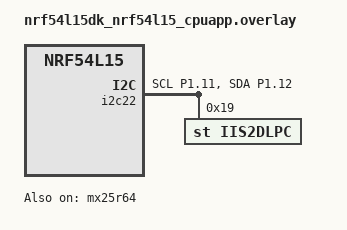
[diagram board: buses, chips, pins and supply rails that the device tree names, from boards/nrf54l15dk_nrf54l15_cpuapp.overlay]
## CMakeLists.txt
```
#
# Copyright (c) 2024 Edge Impulse
#

cmake_minimum_required(VERSION 3.13.1)

# set(PM_STATIC_YML_FILE ${CMAKE_CURRENT_SOURCE_DIR}/boards/pm_static_${BOARD}.yml)
# set(CMAKE_CXX_STANDARD 11)
# set(CMAKE_CXX_STANDARD_REQUIRED ON)

find_package(Zephyr REQUIRED HINTS $ENV{ZEPHYR_BASE})
project("firmware-nordic-nrf54lxx-dk"
          VERSION 0.1)

# Needed for colorful output
zephyr_compile_options(-fdiagnostics-color=always)
zephyr_compile_options(-Wno-narrowing)

# Use hardware acceleration for DSP and Neural Network code
# You'll need to disable these on non-Arm cores
add_definitions(-DEIDSP_USE_CMSIS_DSP=1
                -DEIDSP_LOAD_CMSIS_DSP_SOURCES=1
                -DEI_CLASSIFIER_TFLITE_ENABLE_CMSIS_NN=1
                -DEIDSP_QUANTIZE_FILTERBANK=0
                -DARM_MATH_LOOPUNROLL
                -DMBEDTLS_PLATFORM_ZEROIZE_ALT
                )

# Add all required source files
add_subdirectory(ei-model/edge-impulse-sdk/cmake/zephyr)
add_subdirectory(firmware-sdk)
add_subdirectory(src/inference)
add_subdirectory(src/sensors)
add_subdirectory(src)

# Include directories (everything in the SDK is already included here)
target_include_directories(app PRIVATE .)
target_include_directories(app PRIVATE ei-model)

# Use GLOB to include model files, because model file names differes whether model is EON compiled or not
RECURSIVE_FIND_FILE(MODEL_FILES ei-model/tflite-model "*.cpp")
target_sources(app PRIVATE ${MODEL_FILES})
```

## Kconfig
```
#
# Copyright (c) 2024 Edge Impulse
#

source "Kconfig.zephyr"

menu "Edge Impulse nRF54L15DK example"

config EI_INFERENCE_THREAD_STACK
    int "Inference thread stack size"
    default 256
    help
      "Set the Edge Impulse inference thread stack size."

config EI_INFERENCE_THREAD_PRIO
    int "Inference thread priority"
    default 5
    help
      "Set the Edge Impulse inference thread priority. The lower number, the higher prority."

source "subsys/logging/Kconfig.template.log_config"

endmenu
```

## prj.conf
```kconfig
#
# Copyright (c) 2024 Edge Impulse
#
################################################################################
# Application configuration
CONFIG_GPIO=y

# Enable c++ support
CONFIG_CPP=y
CONFIG_STD_CPP11=y
CONFIG_GLIBCXX_LIBCPP=y
CONFIG_NEWLIB_LIBC=y
CONFIG_NEWLIB_LIBC_FLOAT_PRINTF=y
CONFIG_NEWLIB_LIBC_NANO=n

# Enable reboot from user space
CONFIG_REBOOT=y

# Enable floating point unit
CONFIG_FPU=y

CONFIG_MAIN_STACK_SIZE=4096
CONFIG_SYSTEM_WORKQUEUE_STACK_SIZE=4096
CONFIG_EI_INFERENCE_THREAD_STACK=4096
CONFIG_HEAP_MEM_POOL_SIZE=100000

# Serial console
CONFIG_UART_INTERRUPT_DRIVEN=y
CONFIG_CONSOLE_SUBSYS=n

CONFIG_DK_LIBRARY=n
# Using built-in sensor
CONFIG_SENSOR=y

# I2C configuration for accelerometer
CONFIG_I2C=y
CONFIG_I2C_NRFX=y

CONFIG_ASSERT=y
CONFIG_DEBUG=y
CONFIG_LOG=y
CONFIG_LOG_MODE_DEFERRED=y
CONFIG_USE_SEGGER_RTT=y
CONFIG_LOG_BACKEND_RTT=y
CONFIG_LOG_BACKEND_UART=n

# Configure Segger RTT
CONFIG_SEGGER_RTT_BUFFER_SIZE_UP=4096

# Configure bluetooth
CONFIG_BT=y

CONFIG_SETTINGS=y
CONFIG_CJSON_LIB=y


# CONFIG_PM_DEVICE=y
CONFIG_FLASH_PAGE_LAYOUT=y
CONFIG_MPU_ALLOW_FLASH_WRITE=y

CONFIG_FLASH_MAP=y

CONFIG_BOOTLOADER_MCUBOOT=y

CONFIG_ZCBOR=y
CONFIG_ZCBOR_STOP_ON_ERROR=y

# Enable mcumgr DFU in application
CONFIG_MCUMGR=y

# Enable MCUMGR management for both OS and Images
CONFIG_MCUMGR_GRP_OS=y
CONFIG_MCUMGR_GRP_IMG=y
CONFIG_NET_BUF=y
CONFIG_CRC=y
CONFIG_IMG_MANAGER=y
CONFIG_STREAM_FLASH=y
```

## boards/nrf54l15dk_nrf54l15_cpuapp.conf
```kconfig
# DK-specific: External Flash memory
CONFIG_SPI=y
CONFIG_FLASH=y
CONFIG_NORDIC_QSPI_NOR=n

CONFIG_EI_USE_EXTERNAL_FLASH=y
```

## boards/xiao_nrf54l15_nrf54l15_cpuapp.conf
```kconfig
# XIAO-specific: Disable external Flash, use internal
# DK-specific: External Flash memory
CONFIG_SPI=y
CONFIG_FLASH=y

CONFIG_EI_USE_EXTERNAL_FLASH=n
```

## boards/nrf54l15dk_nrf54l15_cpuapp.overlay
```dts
/*
 * Copyright (c) 2024 EdgeImpulse Inc.
 *
 * Licensed under the Apache License, Version 2.0 (the "License");
 * you may not use this file except in compliance with the License.
 * You may obtain a copy of the License at
 * http://www.apache.org/licenses/LICENSE-2.0
 *
 * Unless required by applicable law or agreed to in writing,
 * software distributed under the License is distributed on an "AS
 * IS" BASIS, WITHOUT WARRANTIES OR CONDITIONS OF ANY KIND, either
 * express or implied. See the License for the specific language
 * governing permissions and limitations under the License.
 *
 * SPDX-License-Identifier: Apache-2.0
 */

// &i2c1 {
//     clock-frequency = <I2C_BITRATE_FAST>;
// };

&i2c22 {
    status = "okay";
    pinctrl-0 = <&i2c22_default>;
    pinctrl-1 = <&i2c22_sleep>;
    pinctrl-names = "default", "sleep";
    iis2dlpc: iis2dlpc@19{
        compatible = "st,iis2dlpc";
        status = "okay";
        reg = < 0x19 >;
    };
};

&pinctrl {
	/omit-if-no-ref/ i2c22_default: i2c22_default {
		group1  {
			psels = <NRF_PSEL(TWIM_SCL, 1, 11)>,
					<NRF_PSEL(TWIM_SDA, 1, 12)>;
		};
	};

	/omit-if-no-ref/ i2c22_sleep: i2c22_sleep {
		group1  {
			psels = <NRF_PSEL(TWIM_SCL, 1, 11)>,
					<NRF_PSEL(TWIM_SDA, 1, 12)>;
			low-power-enable;
		};
	};
};

&mx25r64 {
    status = "okay";
};

/ {
    chosen {
        nordic,pm-ext-flash = &mx25r64;
    };
};

// &clock {
//     hfclkaudio-frequency = <12288000>;
// };
```

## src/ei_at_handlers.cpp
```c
/*
 * Copyright (c) 2024 EdgeImpulse Inc.
 *
 * Licensed under the Apache License, Version 2.0 (the "License");
 * you may not use this file except in compliance with the License.
 * You may obtain a copy of the License at
 * http://www.apache.org/licenses/LICENSE-2.0
 *
 * Unless required by applicable law or agreed to in writing,
 * software distributed under the License is distributed on an "AS
 * IS" BASIS, WITHOUT WARRANTIES OR CONDITIONS OF ANY KIND, either
 * express or implied. See the License for the specific language
 * governing permissions and limitations under the License.
 *
 * SPDX-License-Identifier: Apache-2.0
 */

#include "ei_at_handlers.h"
#include "ei_device_nordic.h"
#include "ei_base64_encode.h"
#include "inference/ei_run_impulse.h"
#include "edge-impulse-sdk/porting/ei_classifier_porting.h"
#include "firmware-sdk/at-server/ei_at_command_set.h"
#include "firmware-sdk/at-server/ei_at_server.h"
#include "firmware-sdk/ei_device_info_lib.h"
#include "firmware-sdk/ei_fusion.h"
#include "firmware-sdk/at_base64_lib.h"
#include "firmware-sdk/ei_device_lib.h"
#include "firmware-sdk/ei_device_interface.h"
#include <zephyr/logging/log.h>
#include <zephyr/kernel.h>
#include <string>

LOG_MODULE_REGISTER(at_handlers, LOG_LEVEL_DBG);

using namespace std;

static EiDeviceNRF *dev;

#define TRANSFER_BUF_LEN 32

inline bool check_args_num(const int &required, const int &received)
{
    if(received < required) {
        ei_printf("Too few arguments! Required: %d\n", required);
        return false;
    }

    return true;
}

bool at_get_device_id(void)
{
    ei_printf("%s\n", dev->get_device_id().c_str());

    return true;
}

bool at_set_device_id(const char **argv, const int argc)
{
    if(argc < 1) {
        ei_printf("Missing argument!\n");
        return true;
    }

    dev->set_device_id(argv[0]);

    ei_printf("OK\n");

    return true;
}

bool at_get_upload_host(void)
{
    ei_printf("%s\n", dev->get_upload_host().c_str());

    return true;
}

bool at_set_upload_host(const char **argv, const int argc)
{
    if(argc < 1) {
        ei_printf("Missing argument!\n");
        return true;
    }

    dev->set_upload_host(argv[0]);

    ei_printf("OK\n");

    return true;
}

bool at_get_upload_settings(void)
{
    ei_printf("Api Key:   %s\n", dev->get_upload_api_key().c_str());
    ei_printf("Host:      %s\n", dev->get_upload_host().c_str());
    ei_printf("Path:      %s\n", dev->get_upload_path().c_str());

    return true;
}

bool at_set_upload_settings(const char **argv, const int argc)
{
    if(argc < 2) {
        ei_printf("Missing argument! Required: " AT_UPLOADSETTINGS_ARGS "\n");
        return true;
    }

    //TODO: can we set these values to ""?
    dev->set_upload_api_key(argv[0]);
    dev->set_upload_path(argv[1]);

    ei_printf("OK\n");

    return true;
}

bool at_get_mgmt_url(void)
{
    ei_printf("%s\n", dev->get_management_url().c_str());

    return true;
}

bool at_set_mgmt_url(const char **argv, const int argc)
{
    if(argc < 1) {
        ei_printf("Missing argument!\n");
        return true;
    }

    dev->set_management_url(argv[0]);

    ei_printf("OK\n");

    return true;
}

bool at_get_sample_settings(void)
{
    ei_printf("Label:     %s\n", dev->get_sample_label().c_str());
    ei_printf("Interval:  %.2lf ms.\n", (double)dev->get_sample_interval_ms());
    ei_printf("Length:    %u ms.\n", dev->get_sample_length_ms());
    ei_printf("HMAC key:  %s\n", dev->get_sample_hmac_key().c_str());

    return true;
}

bool at_set_sample_settings(const char **argv, const int argc)
{
    if(argc < 3) {
        ei_printf("Missing argument! Required: " AT_SAMPLESETTINGS_ARGS "\n");
        return true;
    }

    dev->set_sample_label(argv[0]);

    //TODO: sanity check and/or exception handling
    string interval_ms_str(argv[1]);
    dev->set_sample_interval_ms(stof(interval_ms_str));

    //TODO: sanity check and/or exception handling
    string sample_length_str(argv[2]);
    dev->set_sample_length_ms(stoi(sample_length_str));

    if(argc >= 4) {
        dev->set_sample_hmac_key(argv[3]);
    }

    ei_printf("OK\n");

    return true;
}

bool at_clear_config(void)
{
    dev->clear_config();
    dev->init_device_id();
#ifdef CONFIG_WIFI_NRF700X
    if(cmd_wifi_connected()) {
        ei_ws_client_stop();
        cmd_wifi_disconnect();
    }
#endif
    return true;
}

bool at_unlink_file(const char **argv, const int argc)
{
    ei_printf("\n");

    return true;
}

bool at_read_buffer(const char **argv, const int argc)
{
    if(argc < 2) {
        ei_printf("Missing argument! Required: " AT_READBUFFER_ARGS "\n");
        return true;
    }

    size_t start = (size_t)atoi(argv[0]);
    size_t length = (size_t)atoi(argv[1]);

    dev->set_state(eiStateUploading);

    bool use_max_baudrate = false;
    if (argc >= 3 && argv[2][0] == 'y') {
       use_max_baudrate = true;
    }

    if (use_max_baudrate) {
        ei_printf("OK\r\n");
        ei_sleep(100);
        dev->set_max_data_output_baudrate();
        ei_sleep(100);
    }

    bool success = read_encode_send(start, length);

    if (use_max_baudrate) {
        ei_printf("\r\nOK\r\n");
        ei_sleep(100);
        dev->set_default_data_output_baudrate();
        ei_sleep(100);
    }

    if (!success) {
        ei_printf("ERR: Failed to read from buffer\n");
        dev->set_state(eiStateIdle);
    }
    else {
        ei_printf("\n");
        dev->set_state(eiStateFinished);
    }

    return true;
}

bool at_sample_start(const char **argv, const int argc)
{
    EiDeviceNRF *dev = static_cast<EiDeviceNRF*>(EiDeviceInfo::get_device());
    dev->set_serial_channel(UART);
    if(argc < 1) {
        ei_printf("Missing sensor name!\n");
        return true;
    }

    const ei_device_sensor_t *sensor_list;
    size_t sensor_list_size;

    dev->get_sensor_list((const ei_device_sensor_t **)&sensor_list, &sensor_list_size);

    for (size_t ix = 0; ix < sensor_list_size; ix++) {
        if (strcmp(sensor_list[ix].name, argv[0]) == 0) {
            if (!sensor_list[ix].start_sampling_cb()) {
                ei_printf("ERR: Failed to start sampling\n");
                dev->set_state(eiStateIdle);
            }
            else {
                dev->set_state(eiStateFinished);
            }
            return true;
        }
    }

    if (ei_connect_fusion_list(argv[0], SENSOR_FORMAT)) {
        if (!ei_fusion_setup_data_sampling()) {
            ei_printf("ERR: Failed to start sensor fusion sampling\n");
            dev->set_state(eiStateIdle);
        }
        else {
            dev->set_state(eiStateFinished);
        }
    }
    else {
        ei_printf("ERR: Failed to find sensor '%s' in the sensor list\n", argv[0]);
    }

    return true;
}

bool at_run_impulse(void)
{
    EiDeviceNRF *dev = static_cast<EiDeviceNRF*>(EiDeviceInfo::get_device());
    dev->set_serial_channel(UART);
    ei_start_impulse(false, false);

    return false;
}

bool at_run_impulse_cont(void)
{
    EiDeviceNRF *dev = static_cast<EiDeviceNRF*>(EiDeviceInfo::get_device());
    dev->set_serial_channel(UART);
    ei_start_impulse(true, false);

    return false;
}

bool at_run_impulse_static_data(const char **argv, const int argc)
{
    EiDeviceNRF *dev = static_cast<EiDeviceNRF*>(EiDeviceInfo::get_device());
    dev->set_serial_channel(UART);
    if (check_args_num(2, argc) == false) {
        return false;
    }

    bool debug = (argv[0][0] == 'y');
    size_t length = (size_t)atoi(argv[1]);

    bool res = run_impulse_static_data(debug, length, TRANSFER_BUF_LEN);

    return res;
}

bool at_stop_impulse(void)
{
    EiDeviceNRF *dev = static_cast<EiDeviceNRF*>(EiDeviceInfo::get_device());
    dev->set_serial_channel(UART);
    ei_stop_impulse();

    return true;
}

#ifdef CONFIG_WIFI_NRF700X
bool at_scan_wifi(void)
{
    cmd_wifi_scan();
    cmd_wifi_scan_done();

    return true;
}

bool at_set_wifi(const char **argv, const int argc)
{
    LOG_DBG("set WiFi\n");

    char *endptr;
    int idx = 1;
    static const char* password = NULL;
    unsigned int security = 0;

    if (argc < 1) {
        return -EINVAL;
    }

    /* PSK (optional) */
    if (idx < argc) {
        password = argv[idx];
        idx++;

        if (idx < argc) {
            security = strtol(argv[idx], &endptr, 10);
        }
    } else {
        password = NULL;
        security = 0;
    }

    cmd_wifi_connect(argv[0], password, security);
    //waithing to connect to wifi
    if(cmd_wifi_connecting() < 0) {
        ei_printf("ERR: Failed to connect to WiFi\n");
        return false;
    }
    //waitinhg to connect to dhcp
    if(cmd_dhcp_configured() < 0) {
        ei_printf("ERR: Failed to configure DHCP\n");
        return false;
    }
    ei_ws_client_start(dev, nullptr);
    ei_sleep(100);
    ei_printf("OK\n");

    return true;
}

bool at_get_wifi(void)
{
    char ssid[128] = { 0 };
    char password[128] = { 0 };
    int security = 0;

    dev->get_wifi_config(ssid, password, &security);

    ei_printf("Present:   1\n");
    ei_printf("SSID:      %s\n", ssid);
    ei_printf("Password:  %s\n", password);
    ei_printf("Security:  %d\n", security);
    ei_printf("MAC:       %s\n", dev->get_mac_address().c_str());
    ei_printf("Connected: %d\n", cmd_wifi_connected());

    return true;
}
#endif

bool at_get_config(void)
{
    const ei_device_sensor_t *sensor_list;
    size_t sensor_list_size;

    dev->get_sensor_list((const ei_device_sensor_t **)&sensor_list, &sensor_list_size);

    ei_printf("===== Device info =====\n");
    ei_printf("ID:         %s\n", dev->get_device_id().c_str());
    ei_printf("Type:       %s\n", dev->get_device_type().c_str());
    ei_printf("AT Version: " AT_COMMAND_VERSION "\n");
    ei_printf("Data Transfer Baudrate: %u\n", dev->get_data_output_baudrate());
    ei_printf("\n");
    ei_printf("===== Sensors ======\n");
    for (size_t ix = 0; ix < sensor_list_size; ix++) {
        ei_printf("Name: %s, Max sample length: %hus, Frequencies: [", sensor_list[ix].name, sensor_list[ix].max_sample_length_s);
        for (size_t fx = 0; fx < EI_MAX_FREQUENCIES; fx++) {
            if (sensor_list[ix].frequencies[fx] != 0.0f) {
                if (fx != 0) {
                    ei_printf(", ");
                }
                ei_printf("%.2fHz", (double)sensor_list[ix].frequencies[fx]);
            }
        }
        ei_printf("]\n");
    }
    ei_built_sensor_fusion_list();
    ei_printf("\n");
    ei_printf("===== WIFI =====\n");
#ifdef CONFIG_WIFI_NRF700X
    at_get_wifi();
#else
    ei_printf("Present:   %d\n", false);
    ei_printf("SSID:      %s\n", "");
    ei_printf("Password:  %s\n", "");
    ei_printf("Security:  %d\n", false);
    ei_printf("MAC:       %s\n", dev->get_mac_address().c_str());
    ei_printf("Connected: %d\n", false);
#endif
    ei_printf("\n");
    ei_printf("===== Sampling parameters =====\n");
    ei_printf("Label:     %s\n", dev->get_sample_label().c_str());
    ei_printf("Interval:  %.2lf ms.\n", (double)dev->get_sample_interval_ms());
    ei_printf("Length:    %u ms.\n", dev->get_sample_length_ms());
    ei_printf("HMAC key:  %s\n", dev->get_sample_hmac_key().c_str());
    ei_printf("\n");
    ei_printf("===== Upload settings =====\n");
    ei_printf("Api Key:   %s\n", dev->get_upload_api_key().c_str());
    ei_printf("Host:      %s\n", dev->get_upload_host().c_str());
    ei_printf("Path:      %s\n", dev->get_upload_path().c_str());
    ei_printf("\n");
    ei_printf("===== Remote management =====\n");
    ei_printf("URL:        %s\n", dev->get_management_url().c_str());
#ifdef CONFIG_WIFI_NRF700X
    bool connected = ei_ws_get_connection_status();
#else
    bool connected = false;
#endif
    ei_printf("Connected: %d\n", connected);
    ei_printf("Last error: \n");
    ei_printf("\n");

    return true;
}

ATServer *ei_at_init(void)
{
    ATServer *at;
    dev = static_cast<EiDeviceNRF*>(EiDeviceInfo::get_device());

    at = ATServer::get_instance();

    at->register_command(AT_DEVICEID, AT_DEVICEID_HELP_TEXT, nullptr, at_get_device_id, at_set_device_id, AT_DEVICEID_ARGS);
    at->register_command(AT_UPLOADHOST, AT_UPLOADHOST_HELP_TEXT, nullptr, at_get_upload_host, at_set_upload_host, AT_UPLOADHOST_ARGS);
    at->register_command(AT_UPLOADSETTINGS, AT_UPLOADSETTINGS_HELP_TEXT, nullptr, at_get_upload_settings, at_set_upload_settings, AT_UPLOADSETTINGS_ARGS);
    at->register_command(AT_MGMTSETTINGS, AT_MGMTSETTINGS_HELP_TEXT, nullptr, at_get_mgmt_url, at_set_mgmt_url, AT_MGMTSETTINGS_ARGS);
    at->register_command(AT_SAMPLESETTINGS, AT_SAMPLESETTINGS_HELP_TEXT, nullptr, at_get_sample_settings, at_set_sample_settings, AT_SAMPLESETTINGS_ARGS);
    at->register_command(AT_CLEARCONFIG, AT_CLEARCONFIG_HELP_TEXT, at_clear_config, nullptr, nullptr, nullptr);
    at->register_command(AT_UNLINKFILE, AT_UNLINKFILE_HELP_TEXT, nullptr, nullptr, at_unlink_file, AT_UNLINKFILE_ARGS);
    at->register_command(AT_READBUFFER, AT_READBUFFER_HELP_TEXT, nullptr, nullptr, at_read_buffer, AT_READBUFFER_ARGS);
    at->register_command(AT_SAMPLESTART, AT_SAMPLESTART_HELP_TEXT, nullptr, nullptr, at_sample_start, AT_SAMPLESTART_ARGS);
    at->register_command(AT_CONFIG, AT_CONFIG_HELP_TEXT, nullptr, at_get_config, nullptr, nullptr);
    at->register_command(AT_RUNIMPULSE, AT_RUNIMPULSE_HELP_TEXT, at_run_impulse, nullptr, nullptr, nullptr);
    at->register_command(AT_RUNIMPULSECONT, AT_RUNIMPULSECONT_HELP_TEXT, at_run_impulse_cont, nullptr, nullptr, nullptr);
    at->register_command("STOPIMPULSE", "", at_stop_impulse, nullptr, nullptr, nullptr);
    at->register_command(AT_RUNIMPULSESTATIC, AT_RUNIMPULSESTATIC_HELP_TEXT, nullptr, nullptr, at_run_impulse_static_data, AT_RUNIMPULSESTATIC_ARGS);
#ifdef CONFIG_WIFI_NRF700X
    at->register_command(AT_WIFI, AT_WIFI_HELP_TEXT, nullptr, &at_get_wifi, &at_set_wifi, AT_WIFI_ARGS);
    at->register_command(AT_SCANWIFI, AT_SCANWIFI_HELP_TEXT, &at_scan_wifi, nullptr, nullptr, nullptr);
#endif

    return at;
}
```

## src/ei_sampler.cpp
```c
/*
 * Copyright (c) 2024 EdgeImpulse Inc.
 *
 * Licensed under the Apache License, Version 2.0 (the "License");
 * you may not use this file except in compliance with the License.
 * You may obtain a copy of the License at
 * http://www.apache.org/licenses/LICENSE-2.0
 *
 * Unless required by applicable law or agreed to in writing,
 * software distributed under the License is distributed on an "AS
 * IS" BASIS, WITHOUT WARRANTIES OR CONDITIONS OF ANY KIND, either
 * express or implied. See the License for the specific language
 * governing permissions and limitations under the License.
 *
 * SPDX-License-Identifier: Apache-2.0
 */

/* Include ----------------------------------------------------------------- */
#include "ei_sampler.h"
#include "ei_device_nordic.h"
#include "firmware-sdk/ei_device_memory.h"
#include "firmware-sdk/ei_config_types.h"
#include "firmware-sdk/sensor-aq/sensor_aq_none.h"
#include "edge-impulse-sdk/porting/ei_classifier_porting.h"
#include <zephyr/kernel.h>
#include <zephyr/logging/log.h>
#include <cstdint>
#include <cstdlib>
// #include "wifi/ei_ws_client.h"

#define LOG_MODULE_NAME ei_sampler
LOG_MODULE_REGISTER(LOG_MODULE_NAME, LOG_LEVEL_DBG);

/* Forward declarations ---------------------------------------------------- */
static size_t ei_write(const void *buffer, size_t size, size_t count, EI_SENSOR_AQ_STREAM *);
static int ei_seek(EI_SENSOR_AQ_STREAM *, long int offset, int origin);
static bool sample_data_callback(const void *sample_buf, uint32_t byteLenght);
static bool create_header(sensor_aq_payload_info *payload);

/* Private variables ------------------------------------------------------- */
static uint32_t samples_required;
static uint32_t current_sample;
static uint32_t sample_buffer_size;
static uint32_t headerOffset = 0;
static uint8_t write_word_buf[4] __attribute__((aligned(4)));
static int write_addr = 0;
EI_SENSOR_AQ_STREAM stream;

static unsigned char ei_mic_ctx_buffer[1024] __attribute__((aligned(4)));
static sensor_aq_signing_ctx_t ei_mic_signing_ctx;
static sensor_aq_ctx ei_sampler_ctx = {
    { ei_mic_ctx_buffer, 1024 },
    &ei_mic_signing_ctx,
    &ei_write,
    &ei_seek,
    nullptr,
};

/**
 * @brief      Write sample data to FLASH
 * @details    Write size is always 4 bytes to keep alignment
 *
 * @param[in]  buffer     The buffer
 * @param[in]  size       The size
 * @param[in]  count      The count
 * @param      EI_SENSOR_AQ_STREAM file pointer (not used)
 *
 * @return     number of bytes handled
 */
static size_t ei_write(const void *buffer, size_t size, size_t count, EI_SENSOR_AQ_STREAM *)
{
    EiDeviceMemory* mem = EiDeviceInfo::get_device()->get_memory();

    for (size_t i = 0; i < count; i++) {
        write_word_buf[write_addr & 0x3] = *((char *)buffer + i);

        if ((++write_addr & 0x03) == 0x00) {
            mem->write_sample_data(write_word_buf, (write_addr - 4) + headerOffset, 4);
        }
    }

    return count;
}

/**
 * @brief      File handle seed function. Not used
 */
static int ei_seek(EI_SENSOR_AQ_STREAM *, long int offset, int origin)
{
    return 0;
}

/**
 * @brief      Write out remaining data in word buffer to FLASH.
 *             And append CBOR end character.
 */
static void ei_write_last_data(void)
{
    EiDeviceMemory* mem = EiDeviceInfo::get_device()->get_memory();
    uint8_t fill = ((uint8_t)write_addr & 0x03);
    uint8_t insert_end_address = 0;

    if (fill != 0x00) {
        for (uint8_t i = fill; i < 4; i++) {
            write_word_buf[i] = 0xFF;
        }

        mem->write_sample_data(write_word_buf, (write_addr & ~0x03) + headerOffset, 4);
        insert_end_address = 4;
    }

    /* Write appending word for end character */
    for (uint8_t i = 0; i < 4; i++) {
        write_word_buf[i] = 0xFF;
    }
    mem->write_sample_data(write_word_buf, (write_addr & ~0x03) + headerOffset + insert_end_address, 4);
}

bool ei_sampler_start_sampling(void *v_ptr_payload, starter_callback ei_sample_start, uint32_t sample_size)
{
    EiDeviceNRF *dev = static_cast<EiDeviceNRF*>(EiDeviceInfo::get_device());
    EiDeviceMemory* mem = dev->get_memory();
    sensor_aq_payload_info *payload = (sensor_aq_payload_info *)v_ptr_payload;
    // used for optimizing memory comsumpton
    const char *str_sample_settings = "Sampling settings:";
    const char *str_interval = "\tInterval:";
    const char *str_length = "\tLength:";
    const char *str_name = "\tName:";
    const char *str_hmac_key = "\tHMAC Key:";
    const char *str_file_name = "\tFile name:";
    const char *str_unknown_serial_channel = "Unknown serial channel";
    const char *str_failed_to_allocate_page = "Failed to allocate a page buffer to write the hash";

    if(dev->get_serial_channel() == UART) {
        LOG_INF("UART COM: Sampling settings: UART communication");
        ei_printf("%s\n", str_sample_settings);
        ei_printf("%s %.5f ms.\n", str_interval, dev->get_sample_interval_ms());
        ei_printf("%s %lu ms.\n", str_length,  (long unsigned int)dev->get_sample_length_ms());
        ei_printf("%s %s\n", str_name, dev->get_sample_label().c_str());
        ei_printf("%s %s\n", str_hmac_key, dev->get_sample_hmac_key().c_str());
        ei_printf("%s %s\n", str_file_name, dev->get_sample_label().c_str());
    }
    else {
        LOG_ERR("%s", str_unknown_serial_channel);
        return false;
    }

    samples_required = (uint32_t)((dev->get_sample_length_ms()) / dev->get_sample_interval_ms());
    sample_buffer_size = (samples_required * sample_size) * 2;
    current_sample = 0;

    // Minimum delay of 2000 ms for daemon
    uint32_t delay_time_ms = ((sample_buffer_size / mem->block_size) + 1) * mem->block_erase_time;
    if(dev->get_serial_channel() == UART) {
        LOG_DBG("UART COM: Starting in %d ms...(or until all flash was erased)", delay_time_ms < 2000 ? 2000 : delay_time_ms);
        ei_printf("Starting in %u ms... (or until all flash was erased)\n", delay_time_ms < 2000 ? 2000 : delay_time_ms);
    }
    else{
        LOG_ERR("%s", str_unknown_serial_channel);
    }

    dev->set_state(eiStateErasingFlash);

    if(mem->erase_sample_data(0, sample_buffer_size) != (sample_buffer_size)) {
        if(dev->get_serial_channel() == UART){
            LOG_ERR("UART COM: Failed to erase samples memory");
            ei_printf("ERR: Failed to erase samples memory\n");
        }
        LOG_ERR("Failed to erase samples memory");
        return false;
    }

    // if erasing took less than 2 seconds, wait additional time
    if(delay_time_ms < 2000) {
        ei_sleep(2000 - delay_time_ms);
    }

    if (create_header(payload) == false) {
        LOG_ERR("Failed to create header");
        return false;
    }

    if (ei_sample_start(&sample_data_callback, dev->get_sample_interval_ms()) == false) {
        LOG_ERR("Failed to start sampling");
        return false;
    }

    if(dev->get_serial_channel() == UART) {
        LOG_DBG("UART COM: Sampling...");
        ei_printf("Sampling...\n");
    }
    else {
        LOG_ERR("%s", str_unknown_serial_channel);
        return false;
    }

    dev->set_state(eiStateSampling);

    while (current_sample < samples_required) {
        ei_sleep(10);
    }
    dev->stop_sample_thread();

    ei_write_last_data();
    write_addr++;

    uint8_t final_byte[] = {0xff};
    int ctx_err = ei_sampler_ctx.signature_ctx->update(ei_sampler_ctx.signature_ctx, final_byte, 1);
    if (ctx_err != 0) {
        LOG_ERR("Failed to update data signature");
        return ctx_err;
    }

    // finish the signing
    ctx_err =
        ei_sampler_ctx.signature_ctx->finish(ei_sampler_ctx.signature_ctx, ei_sampler_ctx.hash_buffer.buffer);

    // load the first page in flash...
    uint8_t *page_buffer = (uint8_t *)ei_malloc(mem->block_size);
    if (!page_buffer) {
        if(dev->get_serial_channel() == UART) {
            ei_printf("%s\n", str_failed_to_allocate_page);
        }
        else if(dev->get_serial_channel() == WIFI) {
            LOG_ERR("%s\n", str_failed_to_allocate_page);
        }
        else {
        LOG_ERR("%s", str_unknown_serial_channel);
        }
        return false;
    }

    uint32_t j = mem->read_sample_data(page_buffer, 0, mem->block_size);
    if (j != mem->block_size) {
        if(dev->get_serial_channel() == UART) {
            LOG_ERR("UART COM: Failed to read first page (%d)", j);
            ei_printf("Failed to read first page (%d)\n", j);
        }
        else {
        LOG_ERR("%s", str_unknown_serial_channel);
        }
        ei_free(page_buffer);
        return false;
    }

    // update the hash
    uint8_t *hash = ei_sampler_ctx.hash_buffer.buffer;
    // we have allocated twice as much for this data (because we also want to be able to represent
    // in hex) thus only loop over the first half of the bytes as the signature_ctx has written to
    // those
    for (size_t hash_ix = 0; hash_ix < (ei_sampler_ctx.hash_buffer.size / 2); hash_ix++) {
        // this might seem convoluted, but snprintf() with %02x is not always supported e.g. by
        // newlib-nano we encode as hex... first ASCII char encodes top 4 bytes
        uint8_t first = (hash[hash_ix] >> 4) & 0xf;
        // second encodes lower 4 bytes
        uint8_t second = hash[hash_ix] & 0xf;

        // if 0..9 -> '0' (48) + value, if >10, then use 'a' (97) - 10 + value
        char first_c = first >= 10 ? 87 + first : 48 + first;
        char second_c = second >= 10 ? 87 + second : 48 + second;

        page_buffer[ei_sampler_ctx.signature_index + (hash_ix * 2) + 0] = first_c;
        page_buffer[ei_sampler_ctx.signature_index + (hash_ix * 2) + 1] = second_c;
    }

    j = mem->erase_sample_data(0, mem->block_size);
    if (j != mem->block_size) {
        if(dev->get_serial_channel() == UART){
            LOG_ERR("UART COM: Failed to erase first page (%d)", j);
            ei_printf("Failed to erase first page (%d)\n", j);
        }
        else if(dev->get_serial_channel() == WIFI) {
            LOG_ERR("Failed to erase first page (%d)", j);
        }
        else {
        LOG_ERR("%s", str_unknown_serial_channel);
        }
        ei_free(page_buffer);
        return false;
    }

    j = mem->write_sample_data(page_buffer, 0, mem->block_size);

    ei_free(page_buffer);

    if (j != mem->block_size) {
        if(dev->get_serial_channel() == UART) {
            LOG_ERR("UART COM: Failed to write first page with updated hash (%d)", j);
            ei_printf("Failed to write first page with updated hash (%d)\n", j);
        }
        else if(dev->get_serial_channel() == WIFI) {
            LOG_ERR("Failed to write first page with updated hash (%d)", j);
        }
        else {
        LOG_ERR("%s", str_unknown_serial_channel);
        }
        return false;
    }

    uint32_t my_size = (uint32_t)write_addr + headerOffset;

    if (dev->get_serial_channel() == UART) {
        LOG_DBG("UART COM: need to upload over UART");
        LOG_DBG("Not uploading file, not connected to WiFi. Used buffer, from=0, to=%u.", my_size);
        ei_printf("Done sampling, total bytes collected: %u\n", samples_required);
        ei_printf("[1/1] Uploading file to Edge Impulse...\n");
        ei_printf("Not uploading file, not connected to WiFi. Used buffer, from=0, to=%u.\n", my_size);
        ei_printf("OK\n");
    }

    return true;
}

/**
 * @brief      Create and write the CBOR header to FLASH
 *
 * @param      payload  The payload
 *
 * @return     True on success
 */
static bool create_header(sensor_aq_payload_info *payload)
{
    EiDeviceInfo *dev = EiDeviceInfo::get_device();
    EiDeviceMemory *mem = dev->get_memory();
    sensor_aq_init_none_context(&ei_mic_signing_ctx);//sensor_aq_init_mbedtls_hs256_context(&ei_mic_signing_ctx, &ei_mic_hs_ctx, dev->get_sample_hmac_key().c_str());

    int tr = sensor_aq_init(&ei_sampler_ctx, payload, NULL, true);

    if (tr != AQ_OK) {
        ei_printf("sensor_aq_init failed (%d)\n", tr);
        return false;
    }
    // then we're gonna find the last byte that is not 0x00 in the CBOR buffer.
    // That should give us the whole header
    size_t end_of_header_ix = 0;
    for (size_t ix = ei_sampler_ctx.cbor_buffer.len - 1; ix != 0; ix--) {
        if (((uint8_t *)ei_sampler_ctx.cbor_buffer.ptr)[ix] != 0x0) {
            end_of_header_ix = ix;
            break;
        }
    }

    if (end_of_header_ix == 0) {
        ei_printf("Failed to find end of header\n");
        return false;
    }

    // Write to blockdevice
    tr = mem->write_sample_data((uint8_t*)ei_sampler_ctx.cbor_buffer.ptr, 0, end_of_header_ix);

    if (tr != (int)end_of_header_ix) {
        ei_printf("Failed to write to header blockdevice (%d)\n", tr);
        return false;
    }

    ei_sampler_ctx.stream = &stream;

    headerOffset = end_of_header_ix;
    write_addr = 0;

    return true;
}

/**
 * @brief      Write samples to FLASH in CBOR format
 *
 * @param[in]  sample_buf  The sample buffer
 * @param[in]  byteLenght  The byte lenght
 *
 * @return     true if all required samples are received. Caller should stop sampling,
 */
static bool sample_data_callback(const void *sample_buf, uint32_t byteLenght)
{
    sensor_aq_add_data(&ei_sampler_ctx, (float *)sample_buf, byteLenght / sizeof(float));

    if (++current_sample > samples_required) {
        return true;
    }
    else {
        return false;
    }
}

uint32_t ei_sampler_get_data_size(void)
{
    return write_addr + headerOffset;
}
```

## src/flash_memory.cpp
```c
/*
 * Copyright (c) 2024 EdgeImpulse Inc.
 *
 * Licensed under the Apache License, Version 2.0 (the "License");
 * you may not use this file except in compliance with the License.
 * You may obtain a copy of the License at
 * http://www.apache.org/licenses/LICENSE-2.0
 *
 * Unless required by applicable law or agreed to in writing,
 * software distributed under the License is distributed on an "AS
 * IS" BASIS, WITHOUT WARRANTIES OR CONDITIONS OF ANY KIND, either
 * express or implied. See the License for the specific language
 * governing permissions and limitations under the License.
 *
 * SPDX-License-Identifier: Apache-2.0
 */

#include "flash_memory.h"
#include "edge-impulse-sdk/porting/ei_classifier_porting.h"
#include <zephyr/drivers/flash.h>
#include <zephyr/logging/log.h>
#include <zephyr/storage/flash_map.h>
#include <zephyr/kernel.h>

LOG_MODULE_REGISTER(ei_flash, LOG_LEVEL_DBG);

uint32_t EiFlashMemory::read_data(uint8_t *data, uint32_t address, uint32_t num_bytes)
{
    int ret;

    ret = flash_area_read(ext_flash_area, address, (void*)data, num_bytes);
    if(ret == 0) {
        return num_bytes;
    }

    LOG_ERR("Failed to read %u bytes from 0x%x (err: %d)", num_bytes, address, ret);
    return 0;
}

uint32_t EiFlashMemory::write_data(const uint8_t *data, uint32_t address, uint32_t num_bytes)
{
    uint16_t write_block = flash_area_align(ext_flash_area);
    uint32_t bytes_to_write = num_bytes;
    int ret;

    if(bytes_to_write % write_block != 0) {
        bytes_to_write += (4 - (bytes_to_write % write_block));
        LOG_WRN("Bytes to write (%u) not multiple of %u, extending to %u", num_bytes, write_block, bytes_to_write);
    }

    if(address % write_block) {
        LOG_ERR("Write address (0x%x) not aligned to 0x%x", address, write_block);
        return 0;
    }

    ret = flash_area_write(ext_flash_area, address, data, bytes_to_write);
    if(ret == 0) {
        return num_bytes;
    }

    LOG_ERR("Failed to write %u bytes at 0x%x (error: %d)", num_bytes, address, ret);
    return 0;
}

uint32_t EiFlashMemory::erase_data(uint32_t address, uint32_t num_bytes)
{
    int ret;
    uint32_t num_bytes_to_erase = num_bytes;
    // calculate address offset from block alignment
    uint16_t temp = address & (block_size - 1);

    LOG_DBG("(%d, %d)", address, num_bytes);
    LOG_DBG("temp = %d", temp);

    if(temp != 0) {
        LOG_WRN("Erase address not aligned to %u B (off by %u bytes), adjusting", block_size, temp);
        address -= temp;
        // we have to increase the number of bytes by the block offset bytes
        num_bytes_to_erase += temp;
    }
    LOG_DBG("address = %d", address);


    temp = num_bytes_to_erase % block_size;
    if(temp != 0) {
        LOG_WRN("Bytes to erase (%u) not multiple of block size (%u), adjusting by %u", num_bytes_to_erase, block_size, (block_size - temp));
        num_bytes_to_erase += (block_size - temp);
    }
    LOG_DBG("num_bytes_to_erase = %u", num_bytes_to_erase);


    ret = flash_area_erase(ext_flash_area, address, num_bytes_to_erase);
    if(ret == 0) {
        return num_bytes;
    }

    LOG_ERR("Failed to erase %u bytes at 0x%x (error: %d)", num_bytes_to_erase, address, ret);
    return 0;
}

EiFlashMemory::EiFlashMemory(uint32_t config_size):EiDeviceMemory(config_size, 90, 0, 4096)
{
    int err;
#if CONFIG_EI_USE_EXTERNAL_FLASH
    err = flash_area_open(FLASH_AREA_ID(external_flash), (const flash_area**)&ext_flash_area);
#else
    err = flash_area_open(FLASH_AREA_ID(ei_storage), (const flash_area**)&ext_flash_area);
#endif
    if(err) {
        LOG_ERR("Failed to open flash area: %s", 
#if CONFIG_EI_USE_EXTERNAL_FLASH
        "external_flash"
#else
        "ei_storage"
#endif
        );
        LOG_INF("flash_area_open returned: %d", err);
        return;
    }

    memory_size = ext_flash_area->fa_size;
    memory_blocks = memory_size / block_size;

    LOG_DBG("Using flash device: %d", ext_flash_area->fa_id);
    LOG_DBG("Flash device size: %u bytes", ext_flash_area->fa_size);
    LOG_DBG("Flash device offset: 0x%lx", ext_flash_area->fa_off);
    LOG_DBG("Flash device align: 0x%x", flash_area_align((const struct flash_area *)ext_flash_area));
    LOG_DBG("Flash device sector size: %d bytes", 4096);
}
```
